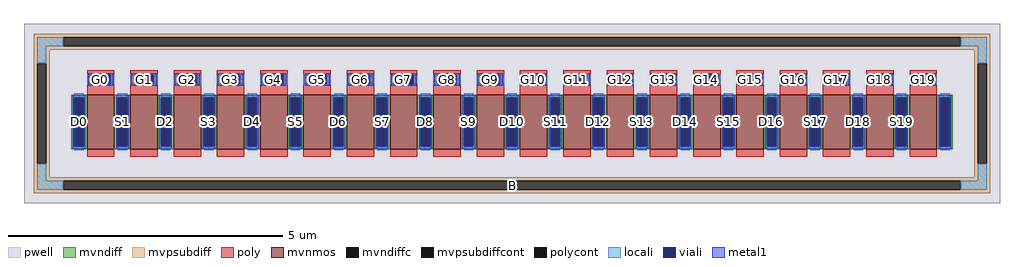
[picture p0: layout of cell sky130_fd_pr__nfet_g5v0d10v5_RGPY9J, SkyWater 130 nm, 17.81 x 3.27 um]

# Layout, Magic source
magic
tech sky130A
magscale 1 2
<< pwell >>
rect -1781 -327 1781 327
<< mvnmos >>
rect -1551 -131 -1451 69
rect -1393 -131 -1293 69
rect -1235 -131 -1135 69
rect -1077 -131 -977 69
rect -919 -131 -819 69
rect -761 -131 -661 69
rect -603 -131 -503 69
rect -445 -131 -345 69
rect -287 -131 -187 69
rect -129 -131 -29 69
rect 29 -131 129 69
rect 187 -131 287 69
rect 345 -131 445 69
rect 503 -131 603 69
rect 661 -131 761 69
rect 819 -131 919 69
rect 977 -131 1077 69
rect 1135 -131 1235 69
rect 1293 -131 1393 69
rect 1451 -131 1551 69
<< mvndiff >>
rect -1609 57 -1551 69
rect -1609 -119 -1597 57
rect -1563 -119 -1551 57
rect -1609 -131 -1551 -119
rect -1451 57 -1393 69
rect -1451 -119 -1439 57
rect -1405 -119 -1393 57
rect -1451 -131 -1393 -119
rect -1293 57 -1235 69
rect -1293 -119 -1281 57
rect -1247 -119 -1235 57
rect -1293 -131 -1235 -119
rect -1135 57 -1077 69
rect -1135 -119 -1123 57
rect -1089 -119 -1077 57
rect -1135 -131 -1077 -119
rect -977 57 -919 69
rect -977 -119 -965 57
rect -931 -119 -919 57
rect -977 -131 -919 -119
rect -819 57 -761 69
rect -819 -119 -807 57
rect -773 -119 -761 57
rect -819 -131 -761 -119
rect -661 57 -603 69
rect -661 -119 -649 57
rect -615 -119 -603 57
rect -661 -131 -603 -119
rect -503 57 -445 69
rect -503 -119 -491 57
rect -457 -119 -445 57
rect -503 -131 -445 -119
rect -345 57 -287 69
rect -345 -119 -333 57
rect -299 -119 -287 57
rect -345 -131 -287 -119
rect -187 57 -129 69
rect -187 -119 -175 57
rect -141 -119 -129 57
rect -187 -131 -129 -119
rect -29 57 29 69
rect -29 -119 -17 57
rect 17 -119 29 57
rect -29 -131 29 -119
rect 129 57 187 69
rect 129 -119 141 57
rect 175 -119 187 57
rect 129 -131 187 -119
rect 287 57 345 69
rect 287 -119 299 57
rect 333 -119 345 57
rect 287 -131 345 -119
rect 445 57 503 69
rect 445 -119 457 57
rect 491 -119 503 57
rect 445 -131 503 -119
rect 603 57 661 69
rect 603 -119 615 57
rect 649 -119 661 57
rect 603 -131 661 -119
rect 761 57 819 69
rect 761 -119 773 57
rect 807 -119 819 57
rect 761 -131 819 -119
rect 919 57 977 69
rect 919 -119 931 57
rect 965 -119 977 57
rect 919 -131 977 -119
rect 1077 57 1135 69
rect 1077 -119 1089 57
rect 1123 -119 1135 57
rect 1077 -131 1135 -119
rect 1235 57 1293 69
rect 1235 -119 1247 57
rect 1281 -119 1293 57
rect 1235 -131 1293 -119
rect 1393 57 1451 69
rect 1393 -119 1405 57
rect 1439 -119 1451 57
rect 1393 -131 1451 -119
rect 1551 57 1609 69
rect 1551 -119 1563 57
rect 1597 -119 1609 57
rect 1551 -131 1609 -119
<< mvndiffc >>
rect -1597 -119 -1563 57
rect -1439 -119 -1405 57
rect -1281 -119 -1247 57
rect -1123 -119 -1089 57
rect -965 -119 -931 57
rect -807 -119 -773 57
rect -649 -119 -615 57
rect -491 -119 -457 57
rect -333 -119 -299 57
rect -175 -119 -141 57
rect -17 -119 17 57
rect 141 -119 175 57
rect 299 -119 333 57
rect 457 -119 491 57
rect 615 -119 649 57
rect 773 -119 807 57
rect 931 -119 965 57
rect 1089 -119 1123 57
rect 1247 -119 1281 57
rect 1405 -119 1439 57
rect 1563 -119 1597 57
<< mvpsubdiff >>
rect -1745 279 1745 291
rect -1745 245 -1637 279
rect 1637 245 1745 279
rect -1745 233 1745 245
rect -1745 183 -1687 233
rect -1745 -183 -1733 183
rect -1699 -183 -1687 183
rect 1687 183 1745 233
rect -1745 -233 -1687 -183
rect 1687 -183 1699 183
rect 1733 -183 1745 183
rect 1687 -233 1745 -183
rect -1745 -245 1745 -233
rect -1745 -279 -1637 -245
rect 1637 -279 1745 -245
rect -1745 -291 1745 -279
<< mvpsubdiffcont >>
rect -1637 245 1637 279
rect -1733 -183 -1699 183
rect 1699 -183 1733 183
rect -1637 -279 1637 -245
<< poly >>
rect -1551 141 -1451 157
rect -1551 107 -1535 141
rect -1467 107 -1451 141
rect -1551 69 -1451 107
rect -1393 141 -1293 157
rect -1393 107 -1377 141
rect -1309 107 -1293 141
rect -1393 69 -1293 107
rect -1235 141 -1135 157
rect -1235 107 -1219 141
rect -1151 107 -1135 141
rect -1235 69 -1135 107
rect -1077 141 -977 157
rect -1077 107 -1061 141
rect -993 107 -977 141
rect -1077 69 -977 107
rect -919 141 -819 157
rect -919 107 -903 141
rect -835 107 -819 141
rect -919 69 -819 107
rect -761 141 -661 157
rect -761 107 -745 141
rect -677 107 -661 141
rect -761 69 -661 107
rect -603 141 -503 157
rect -603 107 -587 141
rect -519 107 -503 141
rect -603 69 -503 107
rect -445 141 -345 157
rect -445 107 -429 141
rect -361 107 -345 141
rect -445 69 -345 107
rect -287 141 -187 157
rect -287 107 -271 141
rect -203 107 -187 141
rect -287 69 -187 107
rect -129 141 -29 157
rect -129 107 -113 141
rect -45 107 -29 141
rect -129 69 -29 107
rect 29 141 129 157
rect 29 107 45 141
rect 113 107 129 141
rect 29 69 129 107
rect 187 141 287 157
rect 187 107 203 141
rect 271 107 287 141
rect 187 69 287 107
rect 345 141 445 157
rect 345 107 361 141
rect 429 107 445 141
rect 345 69 445 107
rect 503 141 603 157
rect 503 107 519 141
rect 587 107 603 141
rect 503 69 603 107
rect 661 141 761 157
rect 661 107 677 141
rect 745 107 761 141
rect 661 69 761 107
rect 819 141 919 157
rect 819 107 835 141
rect 903 107 919 141
rect 819 69 919 107
rect 977 141 1077 157
rect 977 107 993 141
rect 1061 107 1077 141
rect 977 69 1077 107
rect 1135 141 1235 157
rect 1135 107 1151 141
rect 1219 107 1235 141
rect 1135 69 1235 107
rect 1293 141 1393 157
rect 1293 107 1309 141
rect 1377 107 1393 141
rect 1293 69 1393 107
rect 1451 141 1551 157
rect 1451 107 1467 141
rect 1535 107 1551 141
rect 1451 69 1551 107
rect -1551 -157 -1451 -131
rect -1393 -157 -1293 -131
rect -1235 -157 -1135 -131
rect -1077 -157 -977 -131
rect -919 -157 -819 -131
rect -761 -157 -661 -131
rect -603 -157 -503 -131
rect -445 -157 -345 -131
rect -287 -157 -187 -131
rect -129 -157 -29 -131
rect 29 -157 129 -131
rect 187 -157 287 -131
rect 345 -157 445 -131
rect 503 -157 603 -131
rect 661 -157 761 -131
rect 819 -157 919 -131
rect 977 -157 1077 -131
rect 1135 -157 1235 -131
rect 1293 -157 1393 -131
rect 1451 -157 1551 -131
<< polycont >>
rect -1535 107 -1467 141
rect -1377 107 -1309 141
rect -1219 107 -1151 141
rect -1061 107 -993 141
rect -903 107 -835 141
rect -745 107 -677 141
rect -587 107 -519 141
rect -429 107 -361 141
rect -271 107 -203 141
rect -113 107 -45 141
rect 45 107 113 141
rect 203 107 271 141
rect 361 107 429 141
rect 519 107 587 141
rect 677 107 745 141
rect 835 107 903 141
rect 993 107 1061 141
rect 1151 107 1219 141
rect 1309 107 1377 141
rect 1467 107 1535 141
<< locali >>
rect -1733 245 -1637 279
rect 1637 245 1733 279
rect -1733 183 -1699 245
rect 1699 183 1733 245
rect -1551 107 -1535 141
rect -1467 107 -1451 141
rect -1393 107 -1377 141
rect -1309 107 -1293 141
rect -1235 107 -1219 141
rect -1151 107 -1135 141
rect -1077 107 -1061 141
rect -993 107 -977 141
rect -919 107 -903 141
rect -835 107 -819 141
rect -761 107 -745 141
rect -677 107 -661 141
rect -603 107 -587 141
rect -519 107 -503 141
rect -445 107 -429 141
rect -361 107 -345 141
rect -287 107 -271 141
rect -203 107 -187 141
rect -129 107 -113 141
rect -45 107 -29 141
rect 29 107 45 141
rect 113 107 129 141
rect 187 107 203 141
rect 271 107 287 141
rect 345 107 361 141
rect 429 107 445 141
rect 503 107 519 141
rect 587 107 603 141
rect 661 107 677 141
rect 745 107 761 141
rect 819 107 835 141
rect 903 107 919 141
rect 977 107 993 141
rect 1061 107 1077 141
rect 1135 107 1151 141
rect 1219 107 1235 141
rect 1293 107 1309 141
rect 1377 107 1393 141
rect 1451 107 1467 141
rect 1535 107 1551 141
rect -1597 57 -1563 73
rect -1597 -135 -1563 -119
rect -1439 57 -1405 73
rect -1439 -135 -1405 -119
rect -1281 57 -1247 73
rect -1281 -135 -1247 -119
rect -1123 57 -1089 73
rect -1123 -135 -1089 -119
rect -965 57 -931 73
rect -965 -135 -931 -119
rect -807 57 -773 73
rect -807 -135 -773 -119
rect -649 57 -615 73
rect -649 -135 -615 -119
rect -491 57 -457 73
rect -491 -135 -457 -119
rect -333 57 -299 73
rect -333 -135 -299 -119
rect -175 57 -141 73
rect -175 -135 -141 -119
rect -17 57 17 73
rect -17 -135 17 -119
rect 141 57 175 73
rect 141 -135 175 -119
rect 299 57 333 73
rect 299 -135 333 -119
rect 457 57 491 73
rect 457 -135 491 -119
rect 615 57 649 73
rect 615 -135 649 -119
rect 773 57 807 73
rect 773 -135 807 -119
rect 931 57 965 73
rect 931 -135 965 -119
rect 1089 57 1123 73
rect 1089 -135 1123 -119
rect 1247 57 1281 73
rect 1247 -135 1281 -119
rect 1405 57 1439 73
rect 1405 -135 1439 -119
rect 1563 57 1597 73
rect 1563 -135 1597 -119
rect -1733 -245 -1699 -183
rect 1699 -245 1733 -183
rect -1733 -279 -1637 -245
rect 1637 -279 1733 -245
<< viali >>
rect -1535 107 -1467 141
rect -1377 107 -1309 141
rect -1219 107 -1151 141
rect -1061 107 -993 141
rect -903 107 -835 141
rect -745 107 -677 141
rect -587 107 -519 141
rect -429 107 -361 141
rect -271 107 -203 141
rect -113 107 -45 141
rect 45 107 113 141
rect 203 107 271 141
rect 361 107 429 141
rect 519 107 587 141
rect 677 107 745 141
rect 835 107 903 141
rect 993 107 1061 141
rect 1151 107 1219 141
rect 1309 107 1377 141
rect 1467 107 1535 141
rect -1597 -119 -1563 57
rect -1439 -119 -1405 57
rect -1281 -119 -1247 57
rect -1123 -119 -1089 57
rect -965 -119 -931 57
rect -807 -119 -773 57
rect -649 -119 -615 57
rect -491 -119 -457 57
rect -333 -119 -299 57
rect -175 -119 -141 57
rect -17 -119 17 57
rect 141 -119 175 57
rect 299 -119 333 57
rect 457 -119 491 57
rect 615 -119 649 57
rect 773 -119 807 57
rect 931 -119 965 57
rect 1089 -119 1123 57
rect 1247 -119 1281 57
rect 1405 -119 1439 57
rect 1563 -119 1597 57
<< metal1 >>
rect -1547 141 -1455 147
rect -1547 107 -1535 141
rect -1467 107 -1455 141
rect -1547 101 -1455 107
rect -1389 141 -1297 147
rect -1389 107 -1377 141
rect -1309 107 -1297 141
rect -1389 101 -1297 107
rect -1231 141 -1139 147
rect -1231 107 -1219 141
rect -1151 107 -1139 141
rect -1231 101 -1139 107
rect -1073 141 -981 147
rect -1073 107 -1061 141
rect -993 107 -981 141
rect -1073 101 -981 107
rect -915 141 -823 147
rect -915 107 -903 141
rect -835 107 -823 141
rect -915 101 -823 107
rect -757 141 -665 147
rect -757 107 -745 141
rect -677 107 -665 141
rect -757 101 -665 107
rect -599 141 -507 147
rect -599 107 -587 141
rect -519 107 -507 141
rect -599 101 -507 107
rect -441 141 -349 147
rect -441 107 -429 141
rect -361 107 -349 141
rect -441 101 -349 107
rect -283 141 -191 147
rect -283 107 -271 141
rect -203 107 -191 141
rect -283 101 -191 107
rect -125 141 -33 147
rect -125 107 -113 141
rect -45 107 -33 141
rect -125 101 -33 107
rect 33 141 125 147
rect 33 107 45 141
rect 113 107 125 141
rect 33 101 125 107
rect 191 141 283 147
rect 191 107 203 141
rect 271 107 283 141
rect 191 101 283 107
rect 349 141 441 147
rect 349 107 361 141
rect 429 107 441 141
rect 349 101 441 107
rect 507 141 599 147
rect 507 107 519 141
rect 587 107 599 141
rect 507 101 599 107
rect 665 141 757 147
rect 665 107 677 141
rect 745 107 757 141
rect 665 101 757 107
rect 823 141 915 147
rect 823 107 835 141
rect 903 107 915 141
rect 823 101 915 107
rect 981 141 1073 147
rect 981 107 993 141
rect 1061 107 1073 141
rect 981 101 1073 107
rect 1139 141 1231 147
rect 1139 107 1151 141
rect 1219 107 1231 141
rect 1139 101 1231 107
rect 1297 141 1389 147
rect 1297 107 1309 141
rect 1377 107 1389 141
rect 1297 101 1389 107
rect 1455 141 1547 147
rect 1455 107 1467 141
rect 1535 107 1547 141
rect 1455 101 1547 107
rect -1603 57 -1557 69
rect -1603 -119 -1597 57
rect -1563 -119 -1557 57
rect -1603 -131 -1557 -119
rect -1445 57 -1399 69
rect -1445 -119 -1439 57
rect -1405 -119 -1399 57
rect -1445 -131 -1399 -119
rect -1287 57 -1241 69
rect -1287 -119 -1281 57
rect -1247 -119 -1241 57
rect -1287 -131 -1241 -119
rect -1129 57 -1083 69
rect -1129 -119 -1123 57
rect -1089 -119 -1083 57
rect -1129 -131 -1083 -119
rect -971 57 -925 69
rect -971 -119 -965 57
rect -931 -119 -925 57
rect -971 -131 -925 -119
rect -813 57 -767 69
rect -813 -119 -807 57
rect -773 -119 -767 57
rect -813 -131 -767 -119
rect -655 57 -609 69
rect -655 -119 -649 57
rect -615 -119 -609 57
rect -655 -131 -609 -119
rect -497 57 -451 69
rect -497 -119 -491 57
rect -457 -119 -451 57
rect -497 -131 -451 -119
rect -339 57 -293 69
rect -339 -119 -333 57
rect -299 -119 -293 57
rect -339 -131 -293 -119
rect -181 57 -135 69
rect -181 -119 -175 57
rect -141 -119 -135 57
rect -181 -131 -135 -119
rect -23 57 23 69
rect -23 -119 -17 57
rect 17 -119 23 57
rect -23 -131 23 -119
rect 135 57 181 69
rect 135 -119 141 57
rect 175 -119 181 57
rect 135 -131 181 -119
rect 293 57 339 69
rect 293 -119 299 57
rect 333 -119 339 57
rect 293 -131 339 -119
rect 451 57 497 69
rect 451 -119 457 57
rect 491 -119 497 57
rect 451 -131 497 -119
rect 609 57 655 69
rect 609 -119 615 57
rect 649 -119 655 57
rect 609 -131 655 -119
rect 767 57 813 69
rect 767 -119 773 57
rect 807 -119 813 57
rect 767 -131 813 -119
rect 925 57 971 69
rect 925 -119 931 57
rect 965 -119 971 57
rect 925 -131 971 -119
rect 1083 57 1129 69
rect 1083 -119 1089 57
rect 1123 -119 1129 57
rect 1083 -131 1129 -119
rect 1241 57 1287 69
rect 1241 -119 1247 57
rect 1281 -119 1287 57
rect 1241 -131 1287 -119
rect 1399 57 1445 69
rect 1399 -119 1405 57
rect 1439 -119 1445 57
rect 1399 -131 1445 -119
rect 1557 57 1603 69
rect 1557 -119 1563 57
rect 1597 -119 1603 57
rect 1557 -131 1603 -119
<< labels >>
rlabel mvpsubdiffcont 0 -262 0 -262 0 B
port 1 nsew
rlabel mvndiffc -1580 -31 -1580 -31 0 D0
port 2 nsew
rlabel polycont -1501 124 -1501 124 0 G0
port 3 nsew
rlabel mvndiffc -1422 -31 -1422 -31 0 S1
port 4 nsew
rlabel polycont -1343 124 -1343 124 0 G1
port 5 nsew
rlabel mvndiffc -1264 -31 -1264 -31 0 D2
port 6 nsew
rlabel polycont -1185 124 -1185 124 0 G2
port 7 nsew
rlabel mvndiffc -1106 -31 -1106 -31 0 S3
port 8 nsew
rlabel polycont -1027 124 -1027 124 0 G3
port 9 nsew
rlabel mvndiffc -948 -31 -948 -31 0 D4
port 10 nsew
rlabel polycont -869 124 -869 124 0 G4
port 11 nsew
rlabel mvndiffc -790 -31 -790 -31 0 S5
port 12 nsew
rlabel polycont -711 124 -711 124 0 G5
port 13 nsew
rlabel mvndiffc -632 -31 -632 -31 0 D6
port 14 nsew
rlabel polycont -553 124 -553 124 0 G6
port 15 nsew
rlabel mvndiffc -474 -31 -474 -31 0 S7
port 16 nsew
rlabel polycont -395 124 -395 124 0 G7
port 17 nsew
rlabel mvndiffc -316 -31 -316 -31 0 D8
port 18 nsew
rlabel polycont -237 124 -237 124 0 G8
port 19 nsew
rlabel mvndiffc -158 -31 -158 -31 0 S9
port 20 nsew
rlabel polycont -79 124 -79 124 0 G9
port 21 nsew
rlabel mvndiffc 0 -31 0 -31 0 D10
port 22 nsew
rlabel polycont 79 124 79 124 0 G10
port 23 nsew
rlabel mvndiffc 158 -31 158 -31 0 S11
port 24 nsew
rlabel polycont 237 124 237 124 0 G11
port 25 nsew
rlabel mvndiffc 316 -31 316 -31 0 D12
port 26 nsew
rlabel polycont 395 124 395 124 0 G12
port 27 nsew
rlabel mvndiffc 474 -31 474 -31 0 S13
port 28 nsew
rlabel polycont 553 124 553 124 0 G13
port 29 nsew
rlabel mvndiffc 632 -31 632 -31 0 D14
port 30 nsew
rlabel polycont 711 124 711 124 0 G14
port 31 nsew
rlabel mvndiffc 790 -31 790 -31 0 S15
port 32 nsew
rlabel polycont 869 124 869 124 0 G15
port 33 nsew
rlabel mvndiffc 948 -31 948 -31 0 D16
port 34 nsew
rlabel polycont 1027 124 1027 124 0 G16
port 35 nsew
rlabel mvndiffc 1106 -31 1106 -31 0 S17
port 36 nsew
rlabel polycont 1185 124 1185 124 0 G17
port 37 nsew
rlabel mvndiffc 1264 -31 1264 -31 0 D18
port 38 nsew
rlabel polycont 1343 124 1343 124 0 G18
port 39 nsew
rlabel mvndiffc 1422 -31 1422 -31 0 S19
port 40 nsew
rlabel polycont 1501 124 1501 124 0 G19
port 41 nsew
<< properties >>
string FIXED_BBOX -1716 -262 1716 262
string gencell sky130_fd_pr__nfet_g5v0d10v5
string library sky130
string parameters w 1.0 l 0.5 m 1 nf 20 diffcov 100 polycov 100 guard 1 glc 1 grc 1 gtc 1 gbc 1 tbcov 100 rlcov 100 topc 1 botc 0 poverlap 0 doverlap 1 lmin 0.50 wmin 0.42 class mosfet compatible {sky130_fd_pr__nfet_01v8 sky130_fd_pr__nfet_01v8_lvt  sky130_fd_bs_flash__special_sonosfet_star  sky130_fd_pr__nfet_g5v0d10v5 sky130_fd_pr__nfet_05v0_nvt  sky130_fd_pr__nfet_03v3_nvt} full_metal 1 viasrc 100 viadrn 100 viagate 100 viagb 0 viagr 0 viagl 0 viagt 0 doports 1
<< end >>
